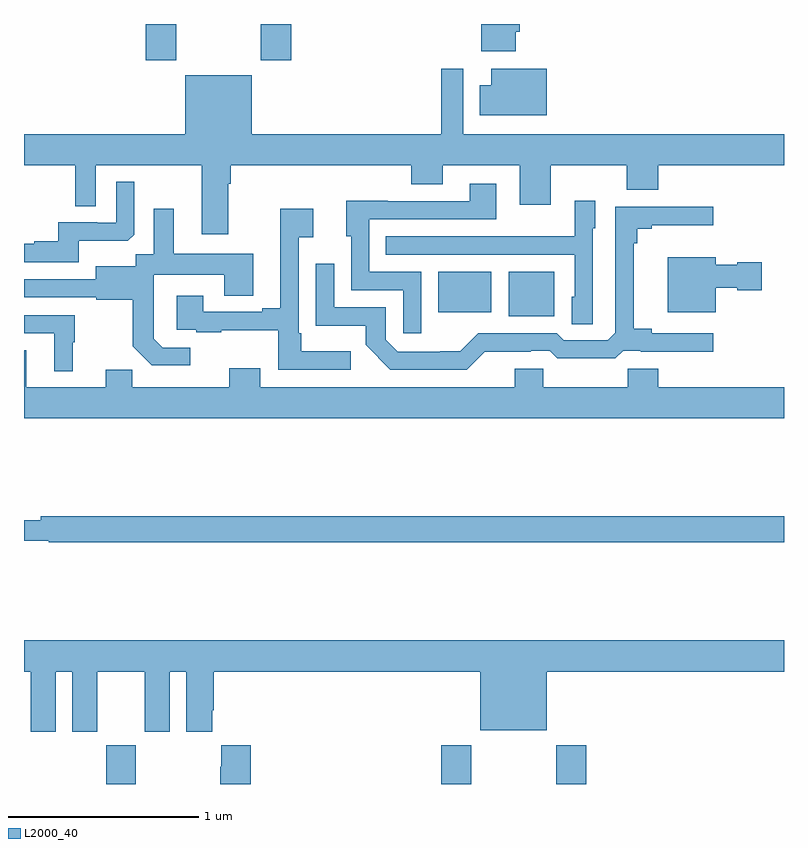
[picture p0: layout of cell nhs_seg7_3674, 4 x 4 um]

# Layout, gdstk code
import gdstk
lib = gdstk.Library(unit=1e-6, precision=1e-09)
def R(c, l, rs):  # rectangles x0, y0, x1, y1
    for r in rs: c.add(gdstk.rectangle(r[:2], r[2:], *l))
def P(c, l, *ps):  # polygons
    for p in ps: c.add(gdstk.Polygon(p, *l))
L2000_40 = (2000, 40)

nhs_seg7_3674 = lib.new_cell('nhs_seg7_3674')
R(nhs_seg7_3674, L2000_40, [(345.433,1024,345.588,1024.204), (347.195,1024,347.355,1024.204), (347.8,1024,347.96,1024.204), (347.552,1026.461,347.791,1026.697), (347.18,1026.482,347.458,1026.697), (345.641,1027.809,345.801,1028), (346.246,1027.809,346.406,1028)])
P(nhs_seg7_3674, L2000_40, [(347.589,1027.96),(347.609,1027.96),(347.609,1028),(347.406,1028),(347.406,1027.856),(347.589,1027.856)],
  [(347.752,1027.765),(347.459,1027.765),(347.459,1027.678),(347.398,1027.678),(347.398,1027.52),(347.752,1027.52)],
  [(346.075,1027.16),(346.088,1027.16),(346.088,1027.256),(347.039,1027.256),(347.039,1027.157),(347.203,1027.157),(347.203,1027.256),(347.609,1027.256),(347.609,1027.05),(347.773,1027.05),(347.773,1027.256),(348.173,1027.256),(348.173,1027.128),(348.337,1027.128),(348.337,1027.256),(349,1027.256),(349,1027.42),(347.313,1027.42),(347.313,1027.765),(347.197,1027.765),(347.197,1027.42),(346.198,1027.42),(346.198,1027.729),(345.848,1027.729),(345.848,1027.42),(345,1027.42),(345,1027.256),(345.27,1027.256),(345.27,1027.042),(345.378,1027.042),(345.378,1027.256),(345.935,1027.256),(345.935,1026.894),(346.075,1026.894)],
  [(345.289,1026.86),(345.547,1026.86),(345.579,1026.891),(345.579,1027.171),(345.486,1027.171),(345.486,1026.954),(345.386,1026.954),(345.386,1026.957),(345.179,1026.957),(345.179,1026.856),(345.055,1026.856),(345.055,1026.844),(345,1026.844),(345,1026.747),(345.289,1026.747)],
  [(347.091,1026.696),(346.818,1026.696),(346.818,1026.972),(347.485,1026.972),(347.485,1027.159),(347.345,1027.159),(347.345,1027.068),(346.915,1027.068),(346.915,1027.07),(346.697,1027.07),(346.697,1026.882),(346.722,1026.882),(346.722,1026.6),(346.995,1026.6),(346.995,1026.372),(347.091,1026.372)],
  [(347.994,1026.924),(348.007,1026.924),(348.007,1027.069),(347.898,1027.069),(347.898,1026.883),(347.581,1026.883),(347.581,1026.882),(346.903,1026.882),(346.903,1026.786),(347.898,1026.786),(347.898,1026.564),(347.882,1026.564),(347.882,1026.421),(347.994,1026.421)],
  [(347.426,1026.275),(347.666,1026.275),(347.666,1026.279),(347.766,1026.279),(347.806,1026.24),(348.113,1026.24),(348.153,1026.279),(348.247,1026.279),(348.247,1026.275),(348.628,1026.275),(348.628,1026.372),(348.304,1026.372),(348.304,1026.395),(348.209,1026.395),(348.209,1026.845),(348.227,1026.845),(348.227,1026.922),(348.304,1026.922),(348.304,1026.941),(348.628,1026.941),(348.628,1027.038),(348.111,1027.038),(348.111,1026.375),(348.072,1026.336),(347.841,1026.336),(347.805,1026.372),(347.391,1026.372),(347.297,1026.278),(347.192,1026.278),(347.192,1026.276),(346.968,1026.276),(346.905,1026.339),(346.905,1026.51),(346.632,1026.51),(346.632,1026.739),(346.536,1026.739),(346.536,1026.413),(346.798,1026.413),(346.798,1026.311),(346.928,1026.18),(347.331,1026.18)],
  [(345.874,1026.297),(345.729,1026.297),(345.682,1026.344),(345.682,1026.439),(345.684,1026.439),(345.684,1026.68),(346.055,1026.68),(346.055,1026.571),(346.207,1026.571),(346.207,1026.79),(345.787,1026.79),(345.787,1027.027),(345.683,1027.027),(345.683,1026.788),(345.588,1026.788),(345.588,1026.724),(345.377,1026.724),(345.377,1026.657),(345,1026.657),(345,1026.561),(345.381,1026.561),(345.381,1026.549),(345.573,1026.549),(345.573,1026.303),(345.673,1026.203),(345.874,1026.203)],
  [(346.72,1026.277),(346.459,1026.277),(346.459,1026.373),(346.446,1026.373),(346.446,1026.878),(346.522,1026.878),(346.522,1027.027),(346.349,1027.027),(346.349,1026.505),(346.253,1026.505),(346.253,1026.486),(345.943,1026.486),(345.943,1026.571),(345.803,1026.571),(345.803,1026.39),(345.907,1026.39),(345.907,1026.378),(346.039,1026.378),(346.039,1026.389),(346.338,1026.389),(346.338,1026.18),(346.72,1026.18)],
  [(348.64,1026.611),(348.753,1026.611),(348.753,1026.599),(348.883,1026.599),(348.883,1026.746),(348.753,1026.746),(348.753,1026.733),(348.64,1026.733),(348.64,1026.772),(348.389,1026.772),(348.389,1026.482),(348.64,1026.482)],
  [(345.256,1026.324),(345.268,1026.324),(345.268,1026.468),(345,1026.468),(345,1026.372),(345.158,1026.372),(345.158,1026.173),(345.256,1026.173)],
  [(349,1026.088),(348.338,1026.088),(348.338,1026.186),(348.178,1026.186),(348.178,1026.088),(347.733,1026.088),(347.733,1026.186),(347.582,1026.186),(347.582,1026.088),(346.243,1026.088),(346.243,1026.187),(346.079,1026.187),(346.079,1026.088),(345.569,1026.088),(345.569,1026.179),(345.431,1026.179),(345.431,1026.088),(345.013,1026.088),(345.013,1026.283),(345,1026.283),(345,1025.924),(349,1025.924)],
  [(349,1025.408),(345.088,1025.408),(345.088,1025.389),(345,1025.389),(345,1025.28),(345.13,1025.28),(345.13,1025.272),(349,1025.272)],
  [(345.166,1024.592),(345.254,1024.592),(345.254,1024.275),(345.385,1024.275),(345.385,1024.592),(345.635,1024.592),(345.635,1024.275),(345.766,1024.275),(345.766,1024.592),(345.854,1024.592),(345.854,1024.275),(345.991,1024.275),(345.991,1024.387),(345.998,1024.387),(345.998,1024.592),(347.402,1024.592),(347.402,1024.283),(347.752,1024.283),(347.752,1024.592),(349,1024.592),(349,1024.756),(345,1024.756),(345,1024.592),(345.035,1024.592),(345.035,1024.275),(345.166,1024.275)],
  [(346.193,1024.204),(346.037,1024.204),(346.037,1024.091),(346.033,1024.091),(346.033,1024),(346.193,1024)])

lib.write_gds('nhs_seg7_3674.gds')
